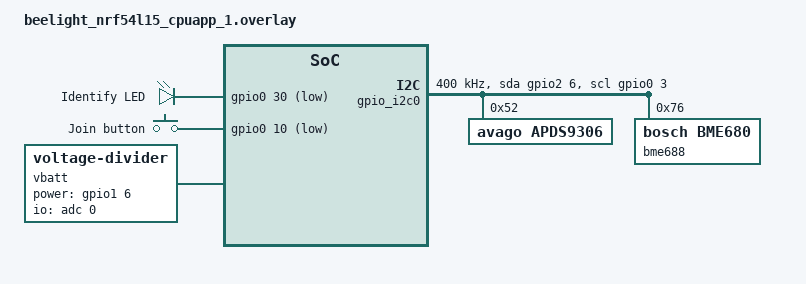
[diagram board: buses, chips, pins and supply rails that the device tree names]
/*
 * Copyright (c) 2025 Daniel Kampert
 *
 * SPDX-License-Identifier: Apache-2.0
 */

/ {
    leds {
        status = "okay";
        compatible = "gpio-leds";

        led0: led_0 {
            gpios = <&gpio0 30 GPIO_ACTIVE_LOW>;
            label = "Identify LED";
        };
    };

    buttons {
        status = "okay";
        compatible = "gpio-keys";

        button0: button_0 {
            gpios = <&gpio0 10 (GPIO_PULL_UP | GPIO_ACTIVE_LOW)>;
            label = "Join button";
            zephyr,code = <INPUT_KEY_3>;
        };
    };

    vbatt {
        status = "okay";
        compatible = "voltage-divider";
        io-channels = <&adc 0>;
        output-ohms = <2200>;
        full-ohms = <(8200 + 2200)>;
        power-gpios = <&gpio1 6 0>;
    };

    gpio_i2c0: gpio_i2c {
        status = "okay";
        compatible = "gpio-i2c";
        clock-frequency = <I2C_BITRATE_FAST>;
        sda-gpios = <&gpio2 6 GPIO_OPEN_DRAIN>;
        scl-gpios = <&gpio0 3 GPIO_OPEN_DRAIN>;
        label = "GPIO_I2C_0";
        #address-cells = <1>;
        #size-cells = <0>;
    };
};

&i2c20 {
    status = "disabled";
};

&gpio_i2c0 {
    apds9306: apds9306@52 {
        status = "okay";
        compatible = "avago,apds9306";
        reg = <0x52>;
        gain = <1>;
        resolution = <13>;
        frequency = <2000>;
    };

    bme688: bme688@76 {
        status = "okay";
        compatible = "bosch,bme680";
        reg = <0x76>;
    };
};
